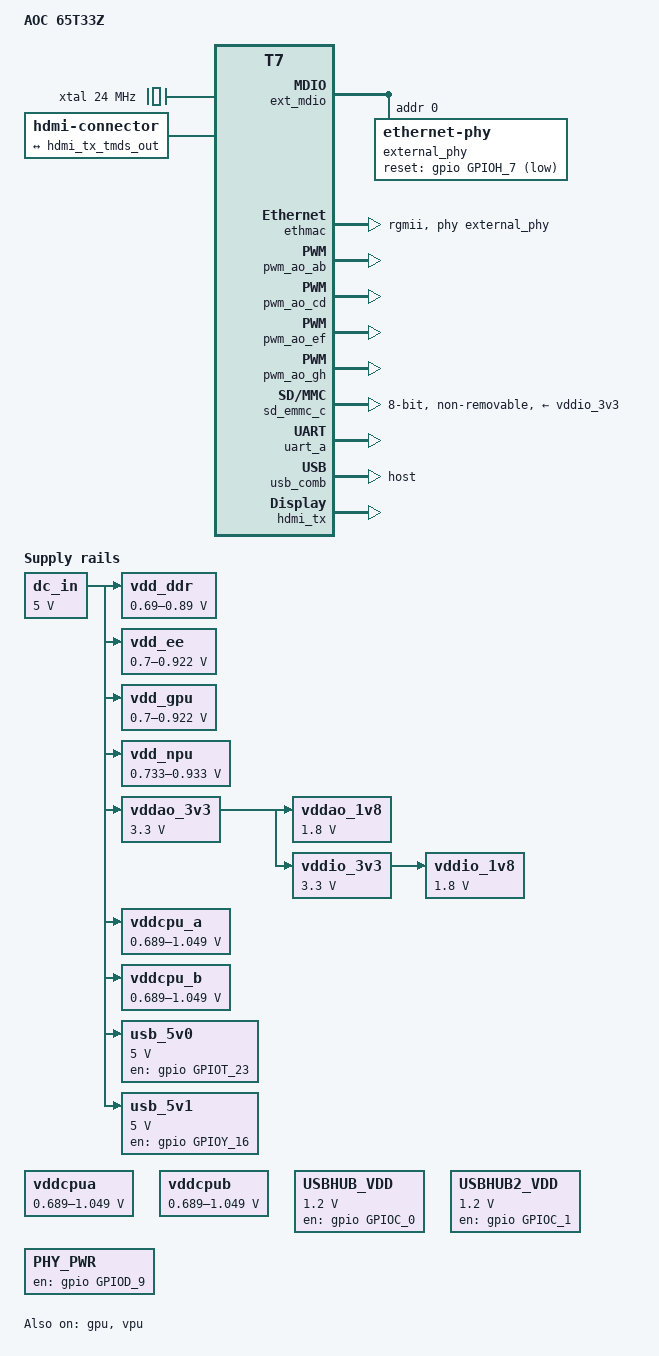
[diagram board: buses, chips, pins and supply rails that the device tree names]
// SPDX-License-Identifier: (GPL-2.0+ OR MIT)
/*
 * Copyright (c) 2022 Wesion, Inc. All rights reserved.
 */

#include "amlogic-t7.dtsi"
#include <dt-bindings/gpio/amlogic,t7-periphs-pinctrl.h>
#include <dt-bindings/gpio/gpio.h>

/ {
	model = "AOC 65T33Z";
	compatible = "aoc,65t33z", "amlogic,a311d2", "amlogic,t7";

	aliases {
		serial0 = &uart_a;
		mmc0 = &sd_emmc_c;
		rtc0 = &vrtc;
	};

	reserved-memory {
		#address-cells = <2>;
		#size-cells = <2>;
		ranges;

		/* 3 MiB reserved for ARM Trusted Firmware (BL31) */
		secmon_reserved: secmon@5000000 {
			reg = <0x0 0x05000000 0x0 0x300000>;
			no-map;
		};

		/* 32 MiB reserved for ARM Trusted Firmware (BL32) */
		secmon_reserved_bl32: secmon@5300000 {
			reg = <0x0 0x05300000 0x0 0x2000000>;
			no-map;
		};

	};

	dc_in: regulator-dc-in {
		compatible = "regulator-fixed";
		regulator-name = "DC_IN";
		regulator-min-microvolt = <5000000>;
		regulator-max-microvolt = <5000000>;
		regulator-always-on;
	};

	vdd_ddr: regulator-vddddr {
		/*
		 * SY8003ADFC Regulator.
		 */
		compatible = "pwm-regulator";
		regulator-name = "VDDDDR";
		regulator-min-microvolt = <690000>;
		regulator-max-microvolt = <890000>;
		pwm-supply = <&dc_in>;
		pwms = <&pwm_ao_gh 0 1500 0>;
		pwm-dutycycle-range = <100 0>;
		regulator-boot-on;
		regulator-always-on;
	};

	vdd_ee: regulator-vddee {
		/*
		 * MP8756GD Regulator.
		 */
		compatible = "pwm-regulator";
		regulator-name = "VDDEE";
		regulator-min-microvolt = <700000>;
		regulator-max-microvolt = <922000>;
		pwm-supply = <&dc_in>;
		pwms = <&pwm_ao_ab 0 1500 0>;
		pwm-dutycycle-range = <100 0>;
		regulator-boot-on;
		regulator-always-on;
	};

	vdd_gpu: regulator-vddgpu {
		/*
		 * SY8003ADFC Regulator.
		 */
		compatible = "pwm-regulator";
		regulator-name = "VDDGPU";
		regulator-min-microvolt = <700000>;
		regulator-max-microvolt = <922000>;
		pwm-supply = <&dc_in>;
		pwms = <&pwm_ao_ef 0 1500 0>;
		pwm-dutycycle-range = <100 0>;
		regulator-boot-on;
		regulator-always-on;
	};

	vdd_npu: regulator-vddnpu {
		/*
		 * SY8003ADFC Regulator.
		 */
		compatible = "pwm-regulator";
		regulator-name = "VDDNPU";
		regulator-min-microvolt = <733000>;
		regulator-max-microvolt = <933000>;
		pwm-supply = <&dc_in>;
		pwms = <&pwm_ao_ef 1 1500 0>;
		pwm-dutycycle-range = <100 0>;
		regulator-boot-on;
		regulator-always-on;
	};

	vddao_1v8: regulator-vddao-1v8 {
		compatible = "regulator-fixed";
		regulator-name = "VDDAO_1V8";
		regulator-min-microvolt = <1800000>;
		regulator-max-microvolt = <1800000>;
		vin-supply = <&vddao_3v3>;
		regulator-always-on;
	};

	vddao_3v3: regulator-vddao-3v3 {
		compatible = "regulator-fixed";
		regulator-name = "VDDAO_3V3";
		regulator-min-microvolt = <3300000>;
		regulator-max-microvolt = <3300000>;
		vin-supply = <&dc_in>;
		regulator-always-on;
	};

	vddcpu_a: regulator-vddcpu-a {
		/*
		 * MP8756GD Regulator.
		 */
		compatible = "pwm-regulator";
		regulator-name = "VDDCPU_A";
		regulator-min-microvolt = <689000>;
		regulator-max-microvolt = <1049000>;
		pwm-supply = <&dc_in>;
		pwms = <&pwm_ao_cd 1 1500 0>;
		pwm-dutycycle-range = <100 0>;
		regulator-boot-on;
		regulator-always-on;
	};

	vddcpu_b: regulator-vddcpu-b {
		/*
		 * MP8756GD Regulator.
		 */
		compatible = "pwm-regulator";
		regulator-name = "VDDCPU_B";
		regulator-min-microvolt = <689000>;
		regulator-max-microvolt = <1049000>;
		pwm-supply = <&dc_in>;
		pwms = <&pwm_ao_ab 1 1500 0>;
		pwm-dutycycle-range = <100 0>;
		regulator-boot-on;
		regulator-always-on;
	};

	vddio_1v8: regulator-vddio-1v8 {
		compatible = "regulator-fixed";
		regulator-name = "VDDIO_1V8";
		regulator-min-microvolt = <1800000>;
		regulator-max-microvolt = <1800000>;
		vin-supply = <&vddio_3v3>;
		regulator-always-on;
	};

	vddio_3v3: regulator-vddio-3v3 {
		compatible = "regulator-fixed";
		regulator-name = "VDDIO_3V3";
		regulator-min-microvolt = <3300000>;
		regulator-max-microvolt = <3300000>;
		vin-supply = <&vddao_3v3>;
		regulator-always-on;
	};

	xtal: xtal-clk {
		compatible = "fixed-clock";
		clock-frequency = <24000000>;
		clock-output-names = "xtal";
		#clock-cells = <0>;
	};

	vddcpua: regulator-vddcpu-a {
		compatible = "pwm-regulator";
		regulator-name = "VDDCPU_A";
		regulator-min-microvolt = <689000>;
		regulator-max-microvolt = <1049000>;
		/* the filtered PWM output needs time to settle */
		regulator-ramp-delay = <150>;
		pwms = <&pwm_ao_cd 1 1500 0>;
		voltage-table = <1049000 0>,
				<1039000 3>,
				<1029000 6>,
				<1019000 9>,
				<1009000 12>,
				<999000 14>,
				<989000 17>,
				<979000 20>,
				<969000 23>,
				<959000 26>,
				<949000 29>,
				<939000 31>,
				<929000 34>,
				<919000 37>,
				<909000 40>,
				<899000 43>,
				<889000 45>,
				<879000 48>,
				<869000 51>,
				<859000 54>,
				<849000 56>,
				<839000 59>,
				<829000 62>,
				<819000 65>,
				<809000 68>,
				<799000 70>,
				<789000 73>,
				<779000 76>,
				<769000 79>,
				<759000 81>,
				<749000 84>,
				<739000 87>,
				<729000 89>,
				<719000 92>,
				<709000 95>,
				<699000 98>,
				<689000 100>;
		regulator-boot-on;
		regulator-always-on;
	};

	vddcpub: regulator-vddcpu-b {
		compatible = "pwm-regulator";
		regulator-name = "VDDCPU_B";
		regulator-min-microvolt = <689000>;
		regulator-max-microvolt = <1049000>;
		/* the filtered PWM output needs time to settle */
		regulator-ramp-delay = <150>;
		pwms = <&pwm_ao_ab 1 1500 0>;
		voltage-table = <1049000 0>,
				<1039000 3>,
				<1029000 6>,
				<1019000 9>,
				<1009000 12>,
				<999000 14>,
				<989000 17>,
				<979000 20>,
				<969000 23>,
				<959000 26>,
				<949000 29>,
				<939000 31>,
				<929000 34>,
				<919000 37>,
				<909000 40>,
				<899000 43>,
				<889000 45>,
				<879000 48>,
				<869000 51>,
				<859000 54>,
				<849000 56>,
				<839000 59>,
				<829000 62>,
				<819000 65>,
				<809000 68>,
				<799000 70>,
				<789000 73>,
				<779000 76>,
				<769000 79>,
				<759000 81>,
				<749000 84>,
				<739000 87>,
				<729000 89>,
				<719000 92>,
				<709000 95>,
				<699000 98>,
				<689000 100>;
		regulator-boot-on;
		regulator-always-on;
	};


	sound {
		compatible = "amlogic,axg-sound-card";
		model = "AOC-65T33Z";
		audio-aux-devs = <&tdmout_a>, <&tdmout_b>, <&tdmout_c>;
		audio-routing = "TDMOUT_A IN 0", "FRDDR_A OUT 0",
				"TDMOUT_A IN 1", "FRDDR_B OUT 0",
				"TDMOUT_A IN 2", "FRDDR_C OUT 0",
				"TDM_A Playback", "TDMOUT_A OUT",
				"TDMOUT_B IN 0", "FRDDR_A OUT 1",
				"TDMOUT_B IN 1", "FRDDR_B OUT 1",
				"TDMOUT_B IN 2", "FRDDR_C OUT 1",
				"TDM_B Playback", "TDMOUT_B OUT",
				"TDMOUT_C IN 0", "FRDDR_A OUT 2",
				"TDMOUT_C IN 1", "FRDDR_B OUT 2",
				"TDMOUT_C IN 2", "FRDDR_C OUT 2",
				"TDM_C Playback", "TDMOUT_C OUT",
				"SPDIFOUT_A IN 0", "FRDDR_A OUT 3",
				"SPDIFOUT_A IN 1", "FRDDR_B OUT 3",
				"SPDIFOUT_A IN 2", "FRDDR_C OUT 3",
				"SPDIFOUT_B IN 0", "FRDDR_A OUT 4",
				"SPDIFOUT_B IN 1", "FRDDR_B OUT 4",
				"SPDIFOUT_B IN 2", "FRDDR_C OUT 4";
		clocks = <&hifi CLKID_HIFI_PLL>,
			 <&mpll CLKID_MPLL0>,
			 <&mpll CLKID_MPLL1>;
		assigned-clocks = <&hifi CLKID_HIFI_PLL>,
				  <&mpll CLKID_MPLL0>,
				  <&mpll CLKID_MPLL1>;
		assigned-clock-rates = <1179648000>,
				       <270950400>,
				       <338688000>;

		dai-link-0 {
			sound-dai = <&frddr_a>;
		};

		dai-link-1 {
			sound-dai = <&frddr_b>;
		};

		dai-link-2 {
			sound-dai = <&frddr_c>;
		};

		/* 8ch HDMI interface */
		dai-link-3 {
			sound-dai = <&tdmif_a>;
			dai-format = "i2s";
			dai-tdm-slot-tx-mask-0 = <1 1>;
			dai-tdm-slot-tx-mask-1 = <1 1>;
			dai-tdm-slot-tx-mask-2 = <1 1>;
			dai-tdm-slot-tx-mask-3 = <1 1>;
			mclk-fs = <256>;

			codec {
				sound-dai = <&tohdmitx TOHDMITX_I2S_IN_A>;
			};
		};

		dai-link-4 {
			sound-dai = <&tdmif_b>;
			dai-format = "i2s";
			dai-tdm-slot-tx-mask-0 = <1 1>;
			mclk-fs = <256>;

			codec {
				sound-dai = <&tohdmitx TOHDMITX_I2S_IN_B>;
			};
		};

		dai-link-5 {
			sound-dai = <&tdmif_c>;
			dai-format = "i2s";
			dai-tdm-slot-tx-mask-0 = <1 1>;
			mclk-fs = <256>;

			codec {
				sound-dai = <&tohdmitx TOHDMITX_I2S_IN_C>;
			};
		};

		dai-link-6 {
			sound-dai = <&spdifout_a>;

			codec {
				sound-dai = <&tohdmitx TOHDMITX_SPDIF_IN_A>;
			};
		};

		dai-link-7 {
			sound-dai = <&spdifout_b>;

			codec {
				sound-dai = <&tohdmitx TOHDMITX_SPDIF_IN_B>;
			};
		};

		/* HDMI transmitter, fed from the TDM interfaces by tohdmitx */
		dai-link-8 {
			sound-dai = <&tohdmitx TOHDMITX_I2S_OUT>;

			codec {
				sound-dai = <&hdmi_tx>;
			};
		};
	};
};

&ext_mdio {
	external_phy: ethernet-phy@0 {
		reg = <0>;
		max-speed = <1000>;
		reset-assert-us = <20000>;
		reset-deassert-us = <50000>;
		reset-gpios = <&gpio GPIOH_7 (GPIO_ACTIVE_LOW | GPIO_OPEN_DRAIN)>;
	};
};

&ethmac {
	status = "okay";
	pinctrl-0 = <&eth_pins>, <&eth_rgmii_pins>;
	pinctrl-names = "default";
	phy-mode = "rgmii";
	phy-handle = <&external_phy>;
	rx-internal-delay-ps = <800>;
	amlogic,tx-delay-ns = <2>;
};

&cpu0 {
	cpu-supply = <&vddcpua>;
	operating-points-v2 = <&a73_opp_table>;
};

&cpu1 {
	cpu-supply = <&vddcpua>;
	operating-points-v2 = <&a73_opp_table>;
};

&cpu2 {
	cpu-supply = <&vddcpua>;
	operating-points-v2 = <&a73_opp_table>;
};

&cpu3 {
	cpu-supply = <&vddcpua>;
	operating-points-v2 = <&a73_opp_table>;
};

&cpu100 {
	cpu-supply = <&vddcpub>;
	operating-points-v2 = <&a53_opp_table>;
};

&cpu101 {
	cpu-supply = <&vddcpub>;
	operating-points-v2 = <&a53_opp_table>;
};

&cpu102 {
	cpu-supply = <&vddcpub>;
	operating-points-v2 = <&a53_opp_table>;
};

&cpu103 {
	cpu-supply = <&vddcpub>;
	operating-points-v2 = <&a53_opp_table>;
};

&pwm_ao_ab {
	status = "okay";
	pinctrl-0 = <&pwm_ao_a_pins>, <&pwm_ao_b_pins>;
	pinctrl-names = "default";
};

&pwm_ao_cd {
	status = "okay";
	pinctrl-0 = <&pwm_ao_d_pins>;
	pinctrl-names = "default";
};

&pwm_ao_ef {
	status = "okay";
	pinctrl-0 = <&pwm_ao_e_pins>, <&pwm_ao_f_pins>;
	pinctrl-names = "default";
};

&pwm_ao_gh {
	status = "okay";
	pinctrl-0 = <&pwm_ao_g_e_pins>;
	pinctrl-names = "default";
};

&pwm_ao_ab {
	status = "okay";
};

/* eMMC */
&sd_emmc_c {
	status = "okay";
	pinctrl-0 = <&emmc_ctrl_pins>, <&emmc_data_8b_pins>, <&emmc_ds_pins>;
	pinctrl-1 = <&emmc_clk_gate_pins>;
	pinctrl-names = "default", "clk-gate";

	bus-width = <8>;
	cap-mmc-highspeed;
	mmc-ddr-1_8v;
	mmc-hs200-1_8v;
	max-frequency = <200000000>;
	disable-wp;
	non-removable;
	no-sdio;
	no-sd;

	power-domains = <&pwrc PWRC_T7_EMMC_ID>;

	vmmc-supply = <&vddio_3v3>;
	vqmmc-supply = <&vddio_1v8>;
};

&uart_a {
	status = "okay";
	clocks = <&xtal>, <&clkc_periphs CLKID_SYS_UART_A>, <&xtal>;
	clock-names = "xtal", "pclk", "baud";
};

&usb_comb {
	status = "okay";
	dr_mode = "host";
};

&usb2_phy0 {
	phy-supply = <&usb_5v0>;
};

&usb2_phy1 {
	phy-supply = <&usb_5v1>;
};

&usb3_phy {
	phy-supply = <&vddao_1v8>;
};

&gpu {
	status = "okay";
};

/ {
	hdmi-connector {
		compatible = "hdmi-connector";
		type = "a";

		port {
			hdmi_connector_in: endpoint {
				remote-endpoint = <&hdmi_tx_tmds_out>;
			};
		};
	};
};

&hdmi_tx {
	status = "okay";
};

&hdmi_tx_tmds_out {
	remote-endpoint = <&hdmi_connector_in>;
};

&vpu {
	status = "okay";
};

/ {
	usb_5v0: regulator-usb-5v0 {
		compatible = "regulator-fixed";
		regulator-name = "USB_5V0";
		regulator-min-microvolt = <5000000>;
		regulator-max-microvolt = <5000000>;
		vin-supply = <&dc_in>;
		gpio = <&gpio GPIOT_23 GPIO_ACTIVE_HIGH>;
		enable-active-high;
		regulator-boot-on;
		regulator-always-on;
	};

	usb_5v1: regulator-usb-5v1 {
		compatible = "regulator-fixed";
		regulator-name = "USB_5V1";
		regulator-min-microvolt = <5000000>;
		regulator-max-microvolt = <5000000>;
		vin-supply = <&dc_in>;
		gpio = <&gpio GPIOY_16 GPIO_ACTIVE_HIGH>;
		enable-active-high;
	};

	/* USB5744 hub supplies share pins with the unused SD interface. */
	regulator-usbhub-vdd {
		compatible = "regulator-fixed";
		regulator-name = "USBHUB_VDD";
		regulator-min-microvolt = <1200000>;
		regulator-max-microvolt = <1200000>;
		gpio = <&gpio GPIOC_0 GPIO_ACTIVE_HIGH>;
		enable-active-high;
		regulator-boot-on;
		regulator-always-on;
	};

	regulator-usbhub2-vdd {
		compatible = "regulator-fixed";
		regulator-name = "USBHUB2_VDD";
		regulator-min-microvolt = <1200000>;
		regulator-max-microvolt = <1200000>;
		gpio = <&gpio GPIOC_1 GPIO_ACTIVE_HIGH>;
		enable-active-high;
		regulator-boot-on;
		regulator-always-on;
	};

	regulator-phy-pwr {
		compatible = "regulator-fixed";
		regulator-name = "PHY_PWR";
		gpio = <&gpio GPIOD_9 GPIO_ACTIVE_HIGH>;
		enable-active-high;
		regulator-boot-on;
		regulator-always-on;
	};
};
